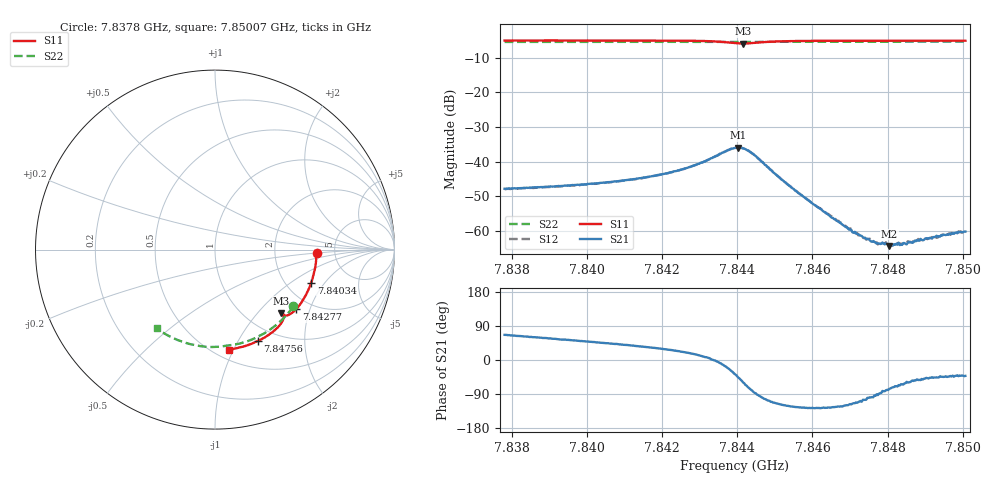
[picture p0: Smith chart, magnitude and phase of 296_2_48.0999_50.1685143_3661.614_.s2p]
#  HZ  S  RI  R  50.00
! Rohde & Schwarz Vector Network Analyzer
! Rohde-Schwarz,ZNB20-2Port,1311601062101988,3.16
! Created: UTC 12/23/2023, 4:04:17 AM
! freq[Hz]  re:S11  im:S11  re:S21  im:S21  re:S12  im:S12  re:S22  im:S22
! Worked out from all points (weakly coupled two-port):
!   401 points, 7.8378 GHz to 7.85007 GHz, reference 50 ohm
!   highest |S21| = -35.94 dB at 7.84403 GHz (marker M1); lowest = -64.4 dB at 7.84805 GHz (marker M2)
!   lowest |S11| = -5.8 dB at 7.84415 GHz (marker M3), VSWR 3.10, Z = 70.8 - j67.8 ohm
!   |S11| at or under -10 dB: nowhere
!   |S22| runs from -5.4 to -5.3 dB; largest |S21 - S12| = 0.00032
!   S11 on the Smith chart (normalised r, x): 7.8378 GHz: 3.60, -0.18; 7.84034 GHz: 2.72, -1.48; 7.84277 GHz: 1.67, -1.62; 7.84756 GHz: 0.81, -1.21; 7.85007 GHz: 0.59, -0.96
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7.837797e9  0.5664 -0.0172  0.00162 0.0037  0.00164 0.00361  0.4371 -0.3167
7.839854e9  0.5461 -0.1526  0.00298 0.00356  0.00295 0.00353  0.3387 -0.4213
7.840345e9  0.5361 -0.1842  0.00343 0.00351  0.00336 0.00353  0.3112 -0.4422
7.841327e9  0.51 -0.2462  0.00453 0.00337  0.00447 0.00337  0.2528 -0.4786
7.84191e9  0.4902 -0.2817  0.00552 0.00324  0.00546 0.00326  0.2159 -0.4962
7.84277e9  0.4522 -0.3323  0.00811 0.00252  0.00804 0.00253  0.1589 -0.5175
7.843476e9  0.4058 -0.3654  0.0122 -0.000971  0.0123 -0.00107  0.1107 -0.5291
7.843936e9  0.3717 -0.362  0.0125 -0.0096  0.0126 -0.00941  0.08 -0.533
7.844028e9  0.3695 -0.3578  0.0109 -0.0116  0.011 -0.0114  0.0741 -0.5336
7.844151e9  0.3704 -0.3532  0.00792 -0.0133  0.0082 -0.0133  0.0667 -0.5347
7.844458e9  0.3811 -0.3586  0.000717 -0.0124  0.00102 -0.0123  0.047 -0.5381
7.845225e9  0.3679 -0.4117  -0.00254 -0.0046  -0.00254 -0.00462  -0.00689 -0.5427
7.845992e9  0.3291 -0.4526  -0.00147 -0.002  -0.00149 -0.00198  -0.0611 -0.5402
7.847159e9  0.2617 -0.4977  -0.00034 -0.00085  -0.000346 -0.000844  -0.1417 -0.5258
7.847374e9  0.2487 -0.5045  -0.000206 -0.000761  -0.000207 -0.000749  -0.1563 -0.5218
7.847558e9  0.2377 -0.5101  -0.000107 -0.000689  -0.000126 -0.000705  -0.1686 -0.5179
7.847681e9  0.2301 -0.5136  -5.32e-05 -0.000666  -1.16e-05 -0.000673  -0.1769 -0.5153
7.847834e9  0.2206 -0.5177  3.4e-05 -0.000642  2.26e-05 -0.000654  -0.1871 -0.5117
7.848049e9  0.2075 -0.5232  0.000144 -0.000583  0.000137 -0.000578  -0.2012 -0.5064
7.848448e9  0.1822 -0.5326  0.000312 -0.000583  0.00032 -0.000566  -0.227 -0.4957
7.849277e9  0.129 -0.5479  0.000562 -0.000588  0.000574 -0.000571  -0.2787 -0.4691
7.850075e9  0.0767 -0.5572  0.00072 -0.000646  0.000745 -0.000651  -0.3254 -0.4384
